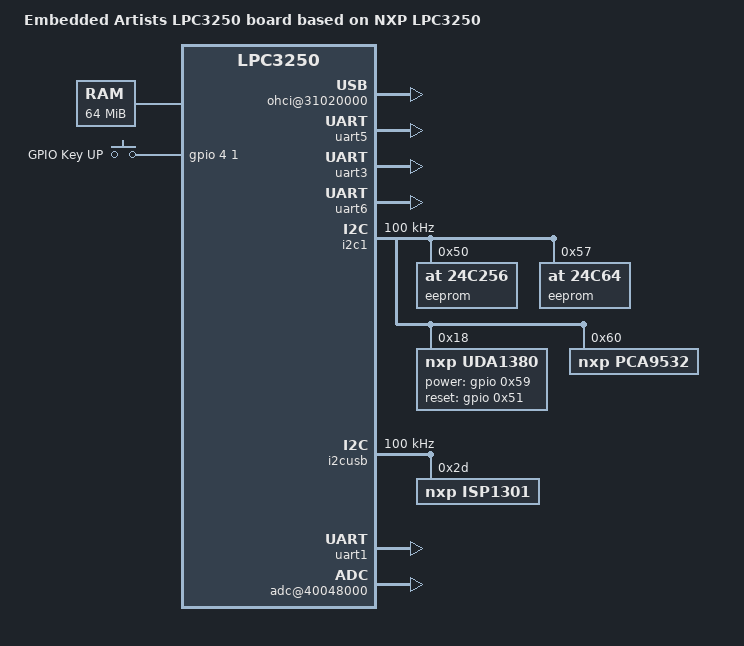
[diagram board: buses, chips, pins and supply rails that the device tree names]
/*
 * Embedded Artists LPC3250 board
 *
 * Copyright 2012 Roland Stigge <stigge@antcom.de>
 *
 * The code contained herein is licensed under the GNU General Public
 * License. You may obtain a copy of the GNU General Public License
 * Version 2 or later at the following locations:
 *
 * http://www.opensource.org/licenses/gpl-license.html
 * http://www.gnu.org/copyleft/gpl.html
 */

/dts-v1/;
/include/ "lpc32xx.dtsi"

/ {
	model = "Embedded Artists LPC3250 board based on NXP LPC3250";
	compatible = "ea,ea3250", "nxp,lpc3250";
	#address-cells = <1>;
	#size-cells = <1>;

	memory {
		device_type = "memory";
		reg = <0 0x4000000>;
	};

	ahb {
		mac: ethernet@31060000 {
			phy-mode = "rmii";
			use-iram;
		};

		/* Here, choose exactly one from: ohci, usbd */
		ohci@31020000 {
			transceiver = <&isp1301>;
			status = "okay";
		};

/*
		usbd@31020000 {
			transceiver = <&isp1301>;
			status = "okay";
		};
*/

		/* 128MB Flash via SLC NAND controller */
		slc: flash@20020000 {
			status = "okay";
			#address-cells = <1>;
			#size-cells = <1>;

			nxp,wdr-clks = <14>;
			nxp,wwidth = <260000000>;
			nxp,whold = <104000000>;
			nxp,wsetup = <200000000>;
			nxp,rdr-clks = <14>;
			nxp,rwidth = <34666666>;
			nxp,rhold = <104000000>;
			nxp,rsetup = <200000000>;
			nand-on-flash-bbt;
			gpios = <&gpio 5 19 1>; /* GPO_P3 19, active low */

			mtd0@00000000 {
				label = "ea3250-boot";
				reg = <0x00000000 0x00080000>;
				read-only;
			};

			mtd1@00080000 {
				label = "ea3250-uboot";
				reg = <0x00080000 0x000c0000>;
				read-only;
			};

			mtd2@00140000 {
				label = "ea3250-kernel";
				reg = <0x00140000 0x00400000>;
			};

			mtd3@00540000 {
				label = "ea3250-rootfs";
				reg = <0x00540000 0x07ac0000>;
			};
		};

		apb {
			uart5: serial@40090000 {
				status = "okay";
			};

			uart3: serial@40080000 {
				status = "okay";
			};

			uart6: serial@40098000 {
				status = "okay";
			};

			i2c1: i2c@400A0000 {
				clock-frequency = <100000>;

				eeprom@50 {
					compatible = "at,24c256";
					reg = <0x50>;
				};

				eeprom@57 {
					compatible = "at,24c64";
					reg = <0x57>;
				};

				uda1380: uda1380@18 {
					compatible = "nxp,uda1380";
					reg = <0x18>;
					power-gpio = <&gpio 0x59 0>;
					reset-gpio = <&gpio 0x51 0>;
					dac-clk = "wspll";
				};

				pca9532: pca9532@60 {
					compatible = "nxp,pca9532";
					gpio-controller;
					#gpio-cells = <2>;
					reg = <0x60>;
				};
			};

			i2c2: i2c@400A8000 {
				clock-frequency = <100000>;
			};

			i2cusb: i2c@31020300 {
				clock-frequency = <100000>;

				isp1301: usb-transceiver@2d {
					compatible = "nxp,isp1301";
					reg = <0x2d>;
				};
			};

			sd@20098000 {
				wp-gpios = <&pca9532 5 0>;
				cd-gpios = <&pca9532 4 0>;
				cd-inverted;
				bus-width = <4>;
				status = "okay";
			};
		};

		fab {
			uart1: serial@40014000 {
				status = "okay";
			};

			/* 3-axis accelerometer X,Y,Z (or AD-IN instead of Z) */
			adc@40048000 {
				status = "okay";
			};
		};
	};

	gpio_keys {
		compatible = "gpio-keys";
		#address-cells = <1>;
		#size-cells = <0>;
		autorepeat;
		button@21 {
			label = "GPIO Key UP";
			linux,code = <103>;
			gpios = <&gpio 4 1 0>; /* GPI_P3 1 */
		};
	};
};
